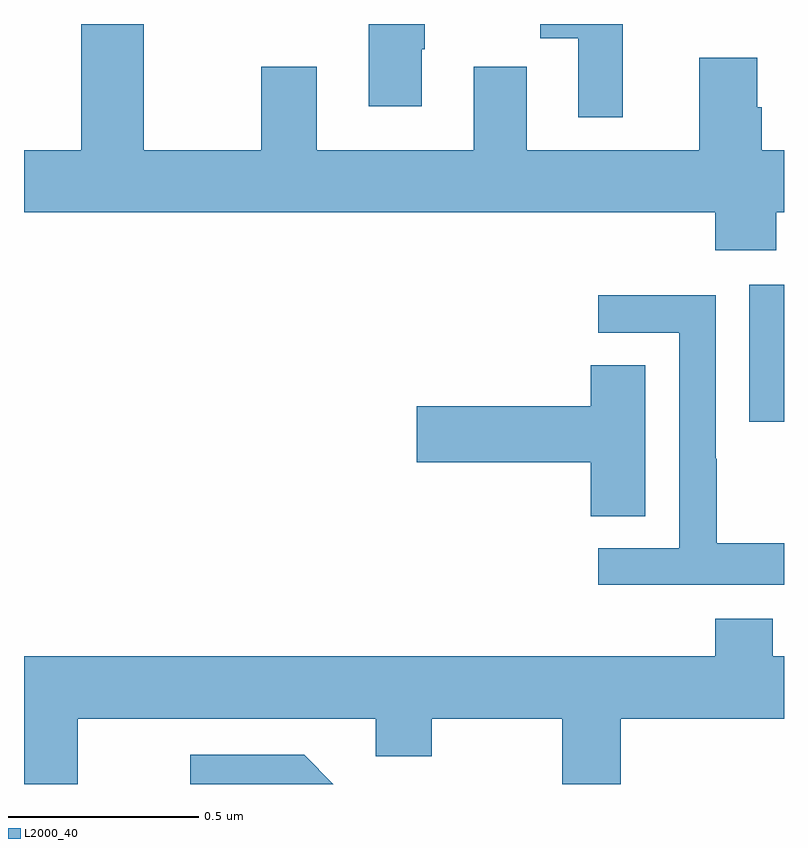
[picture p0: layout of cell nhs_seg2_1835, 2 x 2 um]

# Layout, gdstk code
import gdstk
lib = gdstk.Library(unit=1e-6, precision=1e-09)
def R(c, l, rs):  # rectangles x0, y0, x1, y1
    for r in rs: c.add(gdstk.rectangle(r[:2], r[2:], *l))
def P(c, l, *ps):  # polygons
    for p in ps: c.add(gdstk.Polygon(p, *l))
L2000_40 = (2000, 40)

nhs_seg2_1835 = lib.new_cell('nhs_seg2_1835')
R(nhs_seg2_1835, L2000_40, [(134.909,645.753,135,646.114)])
P(nhs_seg2_1835, L2000_40, [(134.979,646.304),(135,646.304),(135,646.468),(134.942,646.468),(134.942,646.581),(134.929,646.581),(134.929,646.711),(134.777,646.711),(134.777,646.468),(134.323,646.468),(134.323,646.687),(134.183,646.687),(134.183,646.468),(133.771,646.468),(133.771,646.687),(133.624,646.687),(133.624,646.468),(133.315,646.468),(133.315,646.8),(133.151,646.8),(133.151,646.468),(133,646.468),(133,646.304),(134.819,646.304),(134.819,646.205),(134.979,646.205)],
  [(134.047,646.734),(134.055,646.734),(134.055,646.8),(133.907,646.8),(133.907,646.584),(134.047,646.584)],
  [(134.575,646.8),(134.358,646.8),(134.358,646.762),(134.459,646.762),(134.459,646.554),(134.575,646.554)],
  [(135,645.433),(134.823,645.433),(134.823,645.656),(134.82,645.656),(134.82,646.086),(134.511,646.086),(134.511,645.987),(134.724,645.987),(134.724,645.42),(134.511,645.42),(134.511,645.324),(135,645.324)],
  [(134.635,645.902),(134.492,645.902),(134.492,645.794),(134.034,645.794),(134.034,645.647),(134.492,645.647),(134.492,645.505),(134.635,645.505)],
  [(133.141,644.972),(133.925,644.972),(133.925,644.873),(134.073,644.873),(134.073,644.972),(134.417,644.972),(134.417,644.8),(134.57,644.8),(134.57,644.972),(135,644.972),(135,645.136),(134.971,645.136),(134.971,645.235),(134.819,645.235),(134.819,645.136),(133,645.136),(133,644.972),(133.001,644.972),(133.001,644.8),(133.141,644.8)],
  [(133.737,644.877),(133.437,644.877),(133.437,644.8),(133.814,644.8)])

lib.write_gds('nhs_seg2_1835.gds')
